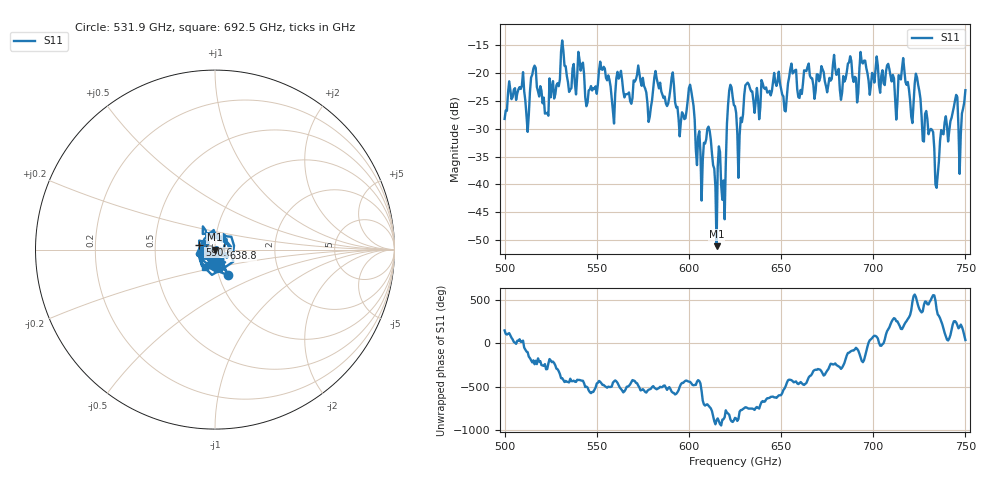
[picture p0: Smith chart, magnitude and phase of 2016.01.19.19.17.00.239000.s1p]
!Created with skrf (http://scikit-rf.org).
# GHz S RI R 50.0
!freq ReS11 ImS11
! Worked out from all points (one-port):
!   401 points, 500 GHz to 750 GHz, reference 50 ohm
!   lowest |S11| = -51.1 dB at 615 GHz (marker M1), VSWR 1.01, Z = 49.7 - j0.0626 ohm
!   |S11| at or under -10 dB: start of sweep to end of sweep
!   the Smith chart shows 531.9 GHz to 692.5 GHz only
!   S11 on the Smith chart (normalised r, x): 531.9 GHz: 1.11, -0.32; 590.6 GHz: 0.84, +0.05; 638.8 GHz: 1.10, +0.02; 692.5 GHz: 0.88, -0.17
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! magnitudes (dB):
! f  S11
! 500 GHz  -28.2
! 512.5 GHz  -30.6
! 515.6 GHz  -19.1
! 522.5 GHz  -27.2
! 531.2 GHz  -14.1
! 531.9 GHz  -16.0
! 545 GHz  -25.3
! 562.5 GHz  -20.5
! 578.8 GHz  -27.8
! 590.6 GHz  -20.8
! 593.8 GHz  -26.1
! 601.2 GHz  -23.2
! 605.6 GHz  -30.4
! 610.6 GHz  -29.6
! 615 GHz  -51.1
! 618.8 GHz  -39.3
! 622.5 GHz  -22.1
! 625 GHz  -25.9
! 627.5 GHz  -31.3
! 631.2 GHz  -21.9
! 638.8 GHz  -26.2
! 656.2 GHz  -20.0
! 687.5 GHz  -17.0
! 692.5 GHz  -19.2
! 718.8 GHz  -21.6
! 724.4 GHz  -22.1
! 734.4 GHz  -40.6
! 750 GHz  -23.1
